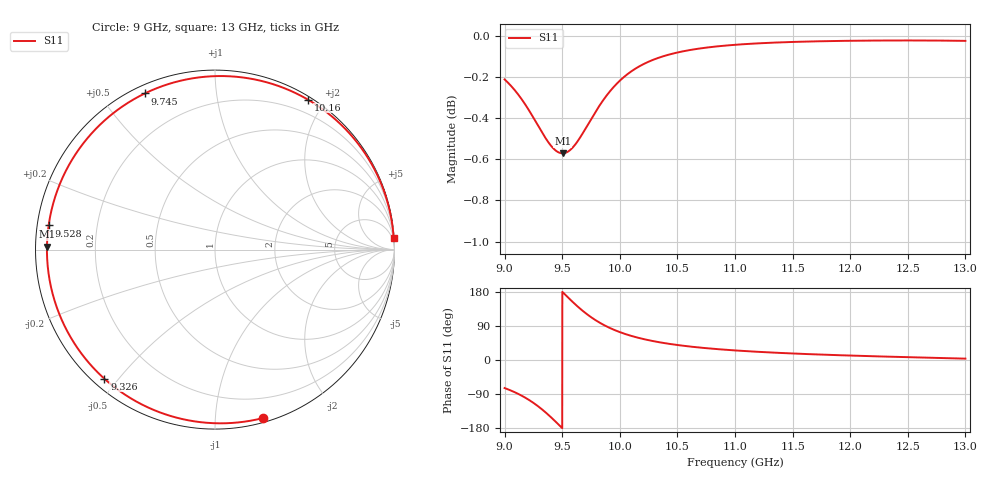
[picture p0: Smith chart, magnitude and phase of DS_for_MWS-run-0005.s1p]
! TOUCHSTONE file generated by CST DESIGN STUDIO
! Date and time: Tue Feb  4 14:13:24 2025
! Project name: C:\Work\MatlabApps\UnitCellOptimizationMatlab\CST\unitcell.cst
! Tree item: Tasks\Sweep1\SPara1\S-Parameters
! Header version: 2024
! Port assignment regex: !\s*Touchstone port\s*([0-9]+)\s*=\s*(CST MWS port|CST DES external port|CST DES block port)\s*(.+)\s* \(\"(.*)\"\)(\s*mode\s*([0-9]+))?.*
! Touchstone port assignment:
! Touchstone port 1 = CST DES external port 1 ("")
# GHz S MA R 50
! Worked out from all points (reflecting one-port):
!   4001 points, 9 GHz to 13 GHz, reference 50 ohm
!   lowest |S11| = -0.6 dB at 9.504 GHz (marker M1), VSWR 30.45, Z = 1.64 + j0.453 ohm
!   phase of S11 starts at -74 deg and turns -282 deg over the sweep
!   S11 on the Smith chart (normalised r, x): 9 GHz: 0.03, -1.33; 9.326 GHz: 0.03, -0.46; 9.528 GHz: 0.03, +0.07; 9.745 GHz: 0.03, +0.65; 10.16 GHz: 0.04, +1.80; 13 GHz: 1, +32
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9  0.976 -74.0
9.087  0.9702 -84.9
9.189  0.9614 -101.2
9.26  0.9542 -115.2
9.326  0.9473 -130.6
9.372  0.9429 -142.6
9.421  0.9391 -156.3
9.461  0.9371 -168.1
9.5  0.9364 -179.8
9.504  0.9364 179.0
9.528  0.9366 171.7
9.581  0.9388 156.0
9.641  0.9434 139.3
9.692  0.9484 126.3
9.745  0.9539 114.2
9.797  0.9592 103.6
9.855  0.9646 93.4
9.927  0.9704 82.7
10  0.9752 73.6
10.165  0.983 58.2
10.317  0.9874 48.3
10.5  0.9908 39.6
10.722  0.9932 32.0
11  0.995 25.3
11.5  0.9966 17.2
12  0.9973 11.7
12.5  0.9975 7.4
13  0.9972 3.6
